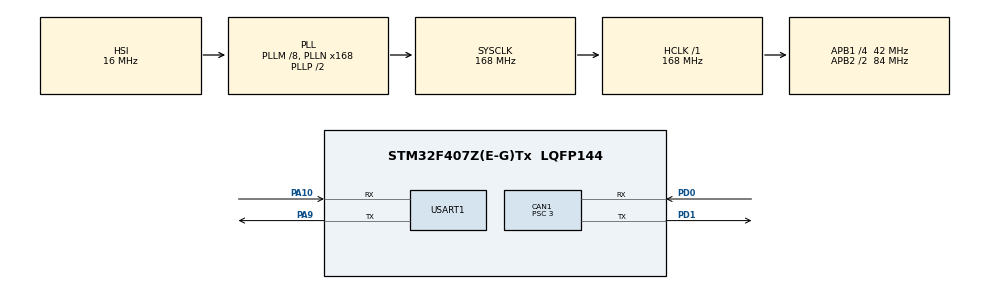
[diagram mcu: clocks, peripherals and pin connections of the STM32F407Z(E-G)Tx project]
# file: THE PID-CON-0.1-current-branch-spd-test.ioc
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CAN1.BS1=CAN_BS1_9TQ
CAN1.BS2=CAN_BS2_4TQ
CAN1.CalculateBaudRate=1000000
CAN1.CalculateTimeBit=1000
CAN1.CalculateTimeQuantum=71.42857142857143
CAN1.Prescaler=3
Dma.Request0=USART1_RX
Dma.USART1_RX.0.Direction=DMA_PERIPH_TO_MEMORY
Dma.USART1_RX.0.FIFOMode=DMA_FIFOMODE_DISABLE
Dma.USART1_RX.0.Instance=DMA2_Stream2
Dma.USART1_RX.0.MemDataAlignment=DMA_MDATAALIGN_BYTE
Dma.USART1_RX.0.MemInc=DMA_MINC_ENABLE
Dma.USART1_RX.0.Mode=DMA_NORMAL
Dma.USART1_RX.0.PeriphDataAlignment=DMA_PDATAALIGN_BYTE
Dma.USART1_RX.0.PeriphInc=DMA_PINC_DISABLE
Dma.USART1_RX.0.Priority=DMA_PRIORITY_HIGH
FREERTOS.Tasks01=defaultTask,0,128,StartDefaultTask,Default,NULL,Dynamic,NULL,NULL;myTask02,-3,128,StartTask02,Default,NULL,Dynamic,NULL,NULL;myTask03,-3,128,StartTask03,Default,NULL,Dynamic,NULL,NULL
Mcu.Family=STM32F4
Mcu.Name=STM32F407Z(E-G)Tx
Mcu.Package=LQFP144
NVIC.CAN1_RX0_IRQn=true\:5\:0\:false\:false\:true\:true\:true\:true\:true
NVIC.CAN1_TX_IRQn=true\:5\:0\:false\:false\:true\:true\:true\:true\:true
NVIC.DMA2_Stream2_IRQn=true\:5\:0\:false\:false\:true\:true\:false\:true\:true
NVIC.PriorityGroup=NVIC_PRIORITYGROUP_4
NVIC.TIM6_DAC_IRQn=true\:15\:0\:false\:false\:true\:false\:false\:true\:true
NVIC.TIM7_IRQn=true\:5\:0\:false\:false\:true\:true\:true\:true\:true
NVIC.TimeBase=TIM6_DAC_IRQn
NVIC.TimeBaseIP=TIM6
NVIC.USART1_IRQn=true\:5\:0\:false\:false\:true\:true\:true\:true\:true
PA10.Mode=Asynchronous
PA10.Signal=USART1_RX
PA13.Mode=Serial_Wire
PA13.Signal=SYS_JTMS-SWDIO
PA14.Mode=Serial_Wire
PA14.Signal=SYS_JTCK-SWCLK
PA9.Mode=Asynchronous
PA9.Signal=USART1_TX
PD0.Mode=CAN_Activate
PD0.Signal=CAN1_RX
PD1.Mode=CAN_Activate
PD1.Signal=CAN1_TX
PH0-OSC_IN.Mode=HSE-External-Oscillator
PH0-OSC_IN.Signal=RCC_OSC_IN
PH1-OSC_OUT.Mode=HSE-External-Oscillator
PH1-OSC_OUT.Signal=RCC_OSC_OUT
ProjectManager.HeapSize=0x200
ProjectManager.StackSize=0x400
ProjectManager.TargetToolchain=MDK-ARM V5.32
RCC.48MHZClocksFreq_Value=84000000
RCC.AHBFreq_Value=168000000
RCC.APB1CLKDivider=RCC_HCLK_DIV4
RCC.APB1Freq_Value=42000000
RCC.APB1TimFreq_Value=84000000
RCC.APB2CLKDivider=RCC_HCLK_DIV2
RCC.APB2Freq_Value=84000000
RCC.APB2TimFreq_Value=168000000
RCC.CortexFreq_Value=168000000
RCC.HCLKFreq_Value=168000000
RCC.HSE_VALUE=8000000
RCC.HSI_VALUE=16000000
RCC.LSE_VALUE=32768
RCC.PLLM=8
RCC.PLLN=168
RCC.SYSCLKFreq_VALUE=168000000
RCC.SYSCLKSource=RCC_SYSCLKSOURCE_PLLCLK
RCC.VCOOutputFreq_Value=336000000
TIM7.Period=99
TIM7.Prescaler=8399
USART1.VirtualMode=VM_ASYNC
VP_FREERTOS_VS_CMSIS_V1.Mode=CMSIS_V1
VP_SYS_VS_tim6.Mode=TIM6
VP_TIM7_VS_ClockSourceINT.Mode=Enable_Timer
board=custom

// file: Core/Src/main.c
/* USER CODE BEGIN Header */
/**
  ******************************************************************************
  * @file           : main.c
  * @brief          : Main program body
  ******************************************************************************
  * @attention
  *
  * Copyright (c) 2023 STMicroelectronics.
  * All rights reserved.
  *
  * This software is licensed under terms that can be found in the LICENSE file
  * in the root directory of this software component.
  * If no LICENSE file comes with this software, it is provided AS-IS.
  *
  ******************************************************************************
  */
/* USER CODE END Header */
#include "main.h"
#include "cmsis_os.h"
#include "can.h"
#include "dma.h"
#include "tim.h"
#include "usart.h"
#include "gpio.h"

/* USER CODE BEGIN Includes */
#include <string.h>
#include <stdio.h>
#include <stdlib.h>
#include "bsp_can.h"
#include "Angle_loop.h"
/* USER CODE END Includes */

/* USER CODE BEGIN PTD */
int fputc(int ch, FILE *fp);
int fgetc(FILE *fp);

uint8_t receive_buff[255];
uint8_t *tx_buff[255];

extern motor_measure_t   *motor_data[4];
extern double input;

// for debug
float kp = 0.0f;
float ki = 0.0f;
float kd = 0.0f;

int TGT_SPD = 0;
int TGT_ANG   = 0;
int SPD = 0;
int ANG = 0;

double output ;
/* USER CODE END PTD */

void SystemClock_Config(void);
void MX_FREERTOS_Init(void);

int main(void)
{

  /* MCU Configuration--------------------------------------------------------*/

  /* Reset of all peripherals, Initializes the Flash interface and the Systick. */
  HAL_Init();

  /* Configure the system clock */
  SystemClock_Config();

  /* Initialize all configured peripherals */
  MX_GPIO_Init();
  MX_DMA_Init();
  MX_USART1_UART_Init();
  MX_CAN1_Init();
  MX_TIM7_Init();
  /* USER CODE BEGIN 2 */
	HAL_TIM_Base_Start_IT(&htim7);
	can_filter_init();
	HAL_CAN_Start(&hcan1);
	HAL_CAN_ActivateNotification(&hcan1, CAN_IT_RX_FIFO0_MSG_PENDING);

	__HAL_UART_ENABLE_IT(&huart1, UART_IT_IDLE);         //使能串UART1 IDLE中断
		HAL_UART_Receive_DMA(&huart1, (uint8_t*)receive_buff, 255);   //设置DMA传输，串叿1的数据搬运到recvive_buff中，

	ang_init(0.0490353319132214,0.00287381530942814,0); // 0.03 0.0002 0.00 720 // 0.1 0.01 0.1// 719// 0.0490353319132214,0.00287381530942814,0);

	// 2023 7 ： 0.0490353319132214,0.00287381530942814,
	// 2023 8 9 :  25.9581,1173.857

	spd_init(5.569,138.5,0); // (0.8,0.1,0); 不改了

	//2023 8 9 : 5.569,138.5

  /* USER CODE END 2 */

  /* Call init function for freertos objects (in freertos.c) */
  MX_FREERTOS_Init();

  /* Start scheduler */
  osKernelStart();
  /* We should never get here as control is now taken by the scheduler */
  /* Infinite loop */
  while (1)
  {

  }
}

void SystemClock_Config(void)
{
  RCC_OscInitTypeDef RCC_OscInitStruct = {0};
  RCC_ClkInitTypeDef RCC_ClkInitStruct = {0};

  /** Configure the main internal regulator output voltage
  */
  __HAL_RCC_PWR_CLK_ENABLE();
  __HAL_PWR_VOLTAGESCALING_CONFIG(PWR_REGULATOR_VOLTAGE_SCALE1);

  /** Initializes the RCC Oscillators according to the specified parameters
  * in the RCC_OscInitTypeDef structure.
  */
  RCC_OscInitStruct.OscillatorType = RCC_OSCILLATORTYPE_HSI;
  RCC_OscInitStruct.HSIState = RCC_HSI_ON;
  RCC_OscInitStruct.HSICalibrationValue = RCC_HSICALIBRATION_DEFAULT;
  RCC_OscInitStruct.PLL.PLLState = RCC_PLL_ON;
  RCC_OscInitStruct.PLL.PLLSource = RCC_PLLSOURCE_HSI;
  RCC_OscInitStruct.PLL.PLLM = 8;
  RCC_OscInitStruct.PLL.PLLN = 168;
  RCC_OscInitStruct.PLL.PLLP = RCC_PLLP_DIV2;
  RCC_OscInitStruct.PLL.PLLQ = 4;
  if (HAL_RCC_OscConfig(&RCC_OscInitStruct) != HAL_OK)
  {
    Error_Handler();
  }

  /** Initializes the CPU, AHB and APB buses clocks
  */
  RCC_ClkInitStruct.ClockType = RCC_CLOCKTYPE_HCLK|RCC_CLOCKTYPE_SYSCLK
                              |RCC_CLOCKTYPE_PCLK1|RCC_CLOCKTYPE_PCLK2;
  RCC_ClkInitStruct.SYSCLKSource = RCC_SYSCLKSOURCE_PLLCLK;
  RCC_ClkInitStruct.AHBCLKDivider = RCC_SYSCLK_DIV1;
  RCC_ClkInitStruct.APB1CLKDivider = RCC_HCLK_DIV4;
  RCC_ClkInitStruct.APB2CLKDivider = RCC_HCLK_DIV2;

  if (HAL_RCC_ClockConfig(&RCC_ClkInitStruct, FLASH_LATENCY_5) != HAL_OK)
  {
    Error_Handler();
  }
}

/* USER CODE BEGIN 4 */
/*
void HAL_UART_RxCpltCallback(UART_HandleTypeDef *huart)
{

    if(huart ->Instance == USART1)
    {

				HAL_UART_Transmit(&huart1,USART1_RX_BUF,8,0xffff);
				a = atoi((char*)USART1_RX_BUF);
				HAL_UART_Receive_IT(&huart1,USART1_RX_BUF, 8);

    }
}
*/
int fputc(int ch,FILE *f)
{
	HAL_UART_Transmit(&huart1,(uint8_t *)&ch,1,0xffff);
	return ch;
}
int fgetc(FILE *fp)
{
  uint8_t ch = 0;
  HAL_UART_Receive(&huart1, &ch, 1, 0xffff);
  return ch;
}
/* USER CODE END 4 */

void HAL_TIM_PeriodElapsedCallback(TIM_HandleTypeDef *htim)
{
  if (htim->Instance == TIM6) {
    HAL_IncTick();
  }
  /* USER CODE BEGIN Callback 1 */
	if (htim == &htim7){
	//	output = motor_data[0]->ecd + motor_data[0]->circle * 8191 ;
		output = motor_data[0]->speed_rpm;
		printf("%f %f \r\n",input,output);

	}
  /* USER CODE END Callback 1 */
}

void Error_Handler(void)
{
  __disable_irq();
  while (1)
  {
  }
}

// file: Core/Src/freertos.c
/* USER CODE BEGIN Header */
/**
  ******************************************************************************
  * File Name          : freertos.c
  * Description        : Code for freertos applications
  ******************************************************************************
  * @attention
  *
  * Copyright (c) 2023 STMicroelectronics.
  * All rights reserved.
  *
  * This software is licensed under terms that can be found in the LICENSE file
  * in the root directory of this software component.
  * If no LICENSE file comes with this software, it is provided AS-IS.
  *
  ******************************************************************************
  */
/* USER CODE END Header */

#include "FreeRTOS.h"
#include "task.h"
#include "main.h"
#include "cmsis_os.h"

/* USER CODE BEGIN Includes */
#include "usart.h"
#include <string.h>
#include <stdio.h>
#include <stdlib.h>
#include "bsp_can.h"
#include "Angle_loop.h"
#include "math.h"

/* USER CODE END Includes */

/* USER CODE BEGIN PTD */

double angle = 0.0f;
double input_angle = 0.0f;
extern motor_measure_t   *motor_data[4];
float wheel_ang[4] = {0,0,0,0};
float wheel_ang_spd[4] = {0.0f,0.0f,0.0f,0.0f};
int test_data = 0;

// only for test

double input = 1000;
extern int TGT_SPD ;
extern  int TGT_ANG  ;
extern int SPD ;
extern  int ANG ;
/* USER CODE END PTD */

osThreadId defaultTaskHandle;
osThreadId myTask02Handle;
osThreadId myTask03Handle;

void StartDefaultTask(void const * argument);
void StartTask02(void const * argument);
void StartTask03(void const * argument);

void MX_FREERTOS_Init(void); /* (MISRA C 2004 rule 8.1) */

/* GetIdleTaskMemory prototype (linked to static allocation support) */
void vApplicationGetIdleTaskMemory( StaticTask_t **ppxIdleTaskTCBBuffer, StackType_t **ppxIdleTaskStackBuffer, uint32_t *pulIdleTaskStackSize );

/* USER CODE BEGIN GET_IDLE_TASK_MEMORY */
static StaticTask_t xIdleTaskTCBBuffer;
static StackType_t xIdleStack[configMINIMAL_STACK_SIZE];

void vApplicationGetIdleTaskMemory( StaticTask_t **ppxIdleTaskTCBBuffer, StackType_t **ppxIdleTaskStackBuffer, uint32_t *pulIdleTaskStackSize )
{
  *ppxIdleTaskTCBBuffer = &xIdleTaskTCBBuffer;
  *ppxIdleTaskStackBuffer = &xIdleStack[0];
  *pulIdleTaskStackSize = configMINIMAL_STACK_SIZE;
  /* place for user code */
}
/* USER CODE END GET_IDLE_TASK_MEMORY */

void MX_FREERTOS_Init(void) {

  /* Create the thread(s) */
  /* definition and creation of defaultTask */
  osThreadDef(defaultTask, StartDefaultTask, osPriorityNormal, 0, 128);
  defaultTaskHandle = osThreadCreate(osThread(defaultTask), NULL);

  /* definition and creation of myTask02 */
  osThreadDef(myTask02, StartTask02, osPriorityIdle, 0, 128);
  myTask02Handle = osThreadCreate(osThread(myTask02), NULL);

  /* definition and creation of myTask03 */
  osThreadDef(myTask03, StartTask03, osPriorityIdle, 0, 128);
  myTask03Handle = osThreadCreate(osThread(myTask03), NULL);

}

void StartDefaultTask(void const * argument)
{
  /* USER CODE BEGIN StartDefaultTask */
  /* Infinite loop */

	wheel_ang[0] = 400;
  for(;;)

  {
	   ang_control_loop(wheel_ang,wheel_ang_spd,0.5);
			//	input = 8000 * input_angle;
			//	wheel_ang_spd[0] = input;

			spd_control_loop(wheel_ang_spd);
	//	input = 2000 * input_angle;
	//	CAN_cmd_chassis(input ,0,0,0);

    osDelay(1);
  }
  /* USER CODE END StartDefaultTask */
}

void StartTask02(void const * argument)
{
  /* USER CODE BEGIN StartTask02 */
  /* Infinite loop */
  for(;;)
  {
		motor_state_update();

		ANG = motor_data[0]->ecd + motor_data[0]->circle * 8191 ; // only for test
	//	ANG = motor_data[0]->ecd ;// only for test

		SPD = motor_data[0]->speed_rpm ;
		TGT_ANG = wheel_ang[0];
		TGT_SPD = wheel_ang_spd[0];

    osDelay(1);
  }
  /* USER CODE END StartTask02 */
}

void StartTask03(void const * argument)
{
  /* USER CODE BEGIN StartTask03 */
  /* Infinite loop */
  for(;;)
  {
		//wheel_ang_spd[0] = -wheel_ang_spd[0];
		//
		input_angle = sin(angle);
		angle += 0.1;

		osDelay(100);

  }
  /* USER CODE END StartTask03 */
}
